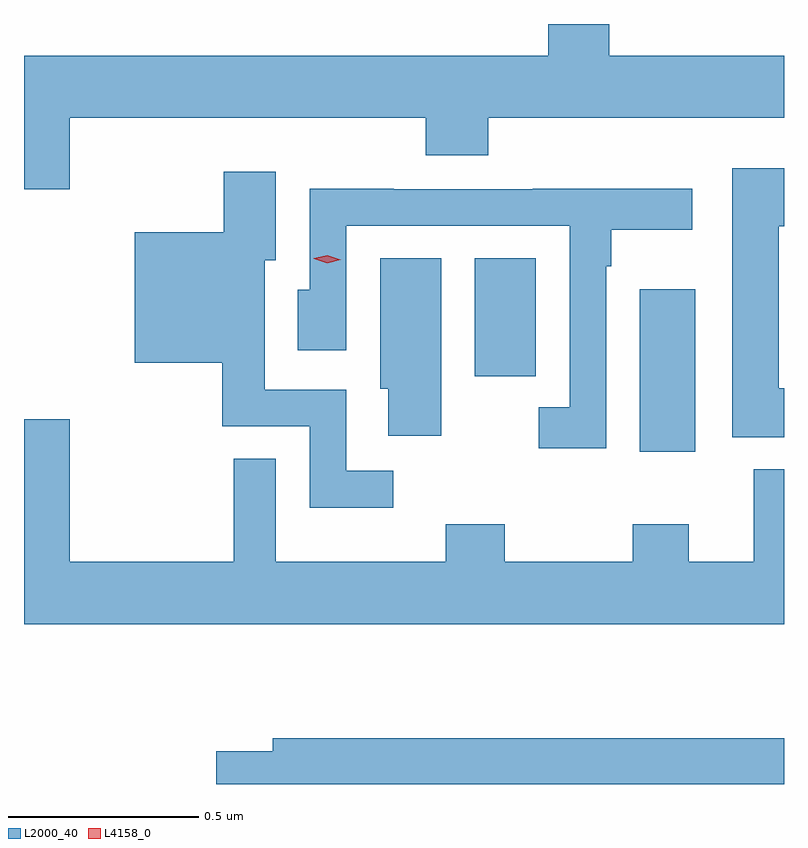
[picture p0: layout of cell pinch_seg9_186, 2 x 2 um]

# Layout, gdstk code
import gdstk
lib = gdstk.Library(unit=1e-6, precision=1e-09)
def R(c, l, rs):  # rectangles x0, y0, x1, y1
    for r in rs: c.add(gdstk.rectangle(r[:2], r[2:], *l))
def P(c, l, *ps):  # polygons
    for p in ps: c.add(gdstk.Polygon(p, *l))
L2000_40 = (2000, 40)
L4158_0 = (4158, 0)

pinch_seg9_186 = lib.new_cell('pinch_seg9_186')
R(pinch_seg9_186, L2000_40, [(766.073,1172.898,766.219,1173.325), (765.638,1173.096,765.799,1173.407)])
P(pinch_seg9_186, L2000_40, [(764.572,1173.776),(765.509,1173.776),(765.509,1173.677),(765.674,1173.677),(765.674,1173.776),(766.452,1173.776),(766.452,1173.94),(765.992,1173.94),(765.992,1174.023),(765.832,1174.023),(765.832,1173.94),(764.452,1173.94),(764.452,1173.588),(764.572,1173.588)],
  [(766.452,1173.064),(766.438,1173.064),(766.438,1173.491),(766.452,1173.491),(766.452,1173.643),(766.316,1173.643),(766.316,1172.936),(766.452,1172.936)],
  [(765.424,1172.847),(765.3,1172.847),(765.3,1173.06),(765.085,1173.06),(765.085,1173.401),(765.115,1173.401),(765.115,1173.634),(764.977,1173.634),(764.977,1173.475),(764.744,1173.475),(764.744,1173.131),(764.974,1173.131),(764.974,1172.964),(765.204,1172.964),(765.204,1172.75),(765.424,1172.75)],
  [(765.984,1173.386),(765.997,1173.386),(765.997,1173.482),(766.21,1173.482),(766.21,1173.59),(765.791,1173.59),(765.791,1173.588),(765.425,1173.588),(765.425,1173.59),(765.204,1173.59),(765.204,1173.324),(765.173,1173.324),(765.173,1173.165),(765.3,1173.165),(765.3,1173.492),(765.888,1173.492),(765.888,1173.015),(765.807,1173.015),(765.807,1172.907),(765.984,1172.907)],
  [(765.55,1173.407),(765.389,1173.407),(765.389,1173.063),(765.41,1173.063),(765.41,1172.94),(765.55,1172.94)],
  [(766.452,1172.851),(766.373,1172.851),(766.373,1172.608),(766.201,1172.608),(766.201,1172.707),(766.054,1172.707),(766.054,1172.608),(765.717,1172.608),(765.717,1172.707),(765.562,1172.707),(765.562,1172.608),(765.115,1172.608),(765.115,1172.879),(765.004,1172.879),(765.004,1172.608),(764.572,1172.608),(764.572,1172.983),(764.452,1172.983),(764.452,1172.444),(766.452,1172.444)],
  [(766.452,1172.143),(765.107,1172.143),(765.107,1172.109),(764.958,1172.109),(764.958,1172.023),(766.452,1172.023)])
P(pinch_seg9_186, L4158_0, [(765.25,1173.394),(765.214,1173.405),(765.214,1173.406),(765.214,1173.406),(765.25,1173.414),(765.286,1173.403),(765.286,1173.403),(765.286,1173.403)])

lib.write_gds('pinch_seg9_186.gds')
